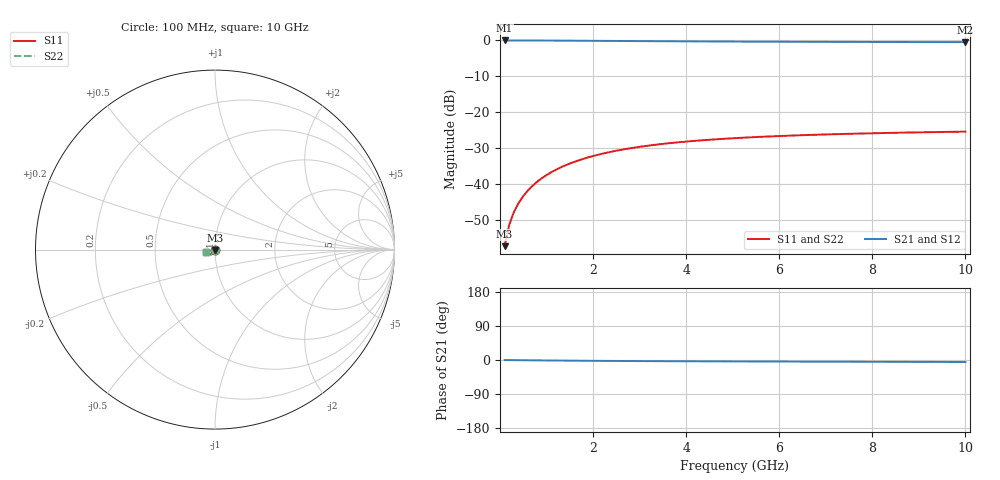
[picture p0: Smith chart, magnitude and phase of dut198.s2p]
! Touchstone file exported from HFSS 2024.1.0
!  File:  C:/UserFiles/LocalFiles/RDL_TSV_Batchsim/temp_TSV1_198_1779385603.aedt
!  Generated:  01:51:17 AM May 22, 2026
!  Design:  TSV1
!  Project:  temp_TSV1_198_1779385603
!  Setup:  Setup1
!  Solution:  Sweep
! Variables:
!  dtsv = 10.21um
!  hbump = 3um
!  htsv = 83.72um
!  lrdl = 252.1521522um
!  p = 40
!  p1 = 40.68um
!  t = 500um
!  trdl = 3um
!  wrdl = 24.89489489um
# GHz S MA R 50.000000
! Terminal data exported
! Port[1] = TSV22_T1
! Port[2] = TSV22_T2
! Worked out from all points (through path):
!   100 points, 100 MHz to 10 GHz, reference 50 ohm
!   highest |S21| = 0.00 dB at 100 MHz (marker M1); lowest = -0.5 dB at 10 GHz (marker M2)
!   lowest |S11| = -57.2 dB at 100 MHz (marker M3), VSWR 1.00, Z = 50 - j0.137 ohm
!   |S11| at or under -10 dB: start of sweep to end of sweep
!   |S22| runs from -57.2 to -25.4 dB; largest |S21 - S12| = 5.2e-15
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0.1  0.001374 -85.3  0.9998 -0.1  0.9998 -0.1  0.001374 -85.3
! Gamma 0 0 0 0
! Port Impedance 50 0 50 0
0.2  0.002739 -89.7  0.9997 -0.2  0.9997 -0.2  0.002739 -89.7
0.3  0.004107 -92.1  0.9995 -0.4  0.9995 -0.4  0.004107 -92.1
0.4  0.005473 -94.1  0.9992 -0.5  0.9992 -0.5  0.005473 -94.1
0.5  0.006831 -95.9  0.9989 -0.6  0.9989 -0.6  0.006831 -95.9
0.6  0.008177 -97.5  0.9985 -0.7  0.9985 -0.7  0.008177 -97.5
0.7  0.009508 -99.2  0.998 -0.9  0.998 -0.9  0.009508 -99.2
0.8  0.01082 -100.7  0.9975 -1.0  0.9975 -1.0  0.01082 -100.7
0.9  0.01212 -102.3  0.997 -1.1  0.997 -1.1  0.01212 -102.3
1.1  0.01464 -105.2  0.9957 -1.3  0.9957 -1.3  0.01464 -105.2
1.4  0.01824 -109.5  0.9935 -1.6  0.9935 -1.6  0.01824 -109.5
1.6  0.0205 -112.1  0.9919 -1.8  0.9919 -1.8  0.0205 -112.2
1.8  0.02264 -114.7  0.9902 -2.0  0.9902 -2.0  0.02264 -114.7
2.1  0.02564 -118.4  0.9875 -2.2  0.9875 -2.2  0.02564 -118.4
2.5  0.02923 -122.9  0.9839 -2.5  0.9839 -2.5  0.02923 -122.9
2.9  0.03239 -127.0  0.9803 -2.8  0.9803 -2.8  0.03239 -127.0
3.4  0.03578 -131.6  0.9761 -3.1  0.9761 -3.1  0.03578 -131.6
4.2  0.04017 -137.9  0.9701 -3.4  0.9701 -3.4  0.04017 -137.9
5.1  0.04392 -143.8  0.9645 -3.8  0.9645 -3.8  0.04392 -143.8
6.7  0.04857 -152.0  0.9569 -4.3  0.9569 -4.3  0.04857 -152.0
8.4  0.05179 -158.6  0.9513 -4.8  0.9513 -4.8  0.05179 -158.6
10  0.05388 -163.7  0.9476 -5.3  0.9476 -5.3  0.05388 -163.7
